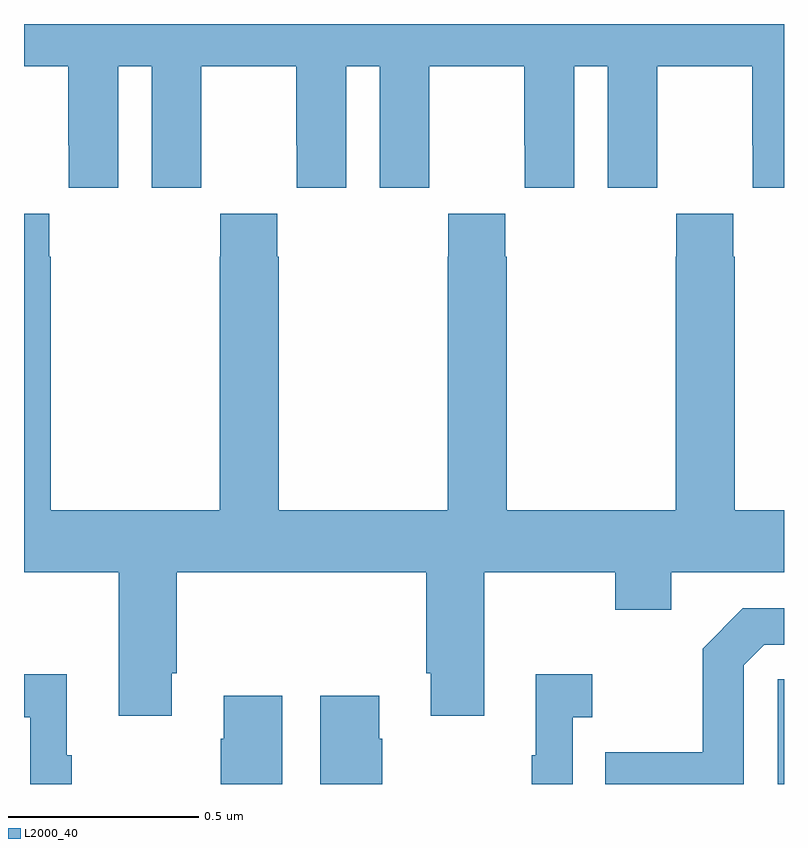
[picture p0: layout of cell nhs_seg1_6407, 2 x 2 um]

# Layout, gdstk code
import gdstk
lib = gdstk.Library(unit=1e-6, precision=1e-09)
def R(c, l, rs):  # rectangles x0, y0, x1, y1
    for r in rs: c.add(gdstk.rectangle(r[:2], r[2:], *l))
def P(c, l, *ps):  # polygons
    for p in ps: c.add(gdstk.Polygon(p, *l))
L2000_40 = (2000, 40)

nhs_seg1_6407 = lib.new_cell('nhs_seg1_6407')
R(nhs_seg1_6407, L2000_40, [(192.984,527.199,193,527.475)])
P(nhs_seg1_6407, L2000_40, [(191.248,529.088),(191.336,529.088),(191.336,528.768),(191.466,528.768),(191.466,528.88),(191.467,528.88),(191.467,529.088),(191.717,529.088),(191.717,528.88),(191.718,528.88),(191.718,528.768),(191.848,528.768),(191.848,529.088),(191.936,529.088),(191.936,528.768),(192.066,528.768),(192.066,528.88),(192.067,528.88),(192.067,529.088),(192.317,529.088),(192.317,528.88),(192.318,528.88),(192.318,528.768),(192.448,528.768),(192.448,529.088),(192.536,529.088),(192.536,528.768),(192.666,528.768),(192.666,528.88),(192.667,528.88),(192.667,529.088),(192.917,529.088),(192.917,528.88),(192.918,528.88),(192.918,528.768),(193,528.768),(193,529.199),(191,529.199),(191,529.088),(191.117,529.088),(191.117,528.88),(191.118,528.88),(191.118,528.768),(191.248,528.768)],
  [(192.059,527.491),(192.071,527.491),(192.071,527.379),(192.211,527.379),(192.211,527.756),(192.556,527.756),(192.556,527.657),(192.703,527.657),(192.703,527.756),(193,527.756),(193,527.92),(192.87,527.92),(192.87,528.587),(192.867,528.587),(192.867,528.7),(192.717,528.7),(192.717,528.587),(192.715,528.587),(192.715,527.92),(192.27,527.92),(192.27,528.587),(192.267,528.587),(192.267,528.7),(192.117,528.7),(192.117,528.587),(192.115,528.587),(192.115,527.92),(191.67,527.92),(191.67,528.587),(191.667,528.587),(191.667,528.7),(191.517,528.7),(191.517,528.587),(191.515,528.587),(191.515,527.92),(191.07,527.92),(191.07,528.587),(191.067,528.587),(191.067,528.7),(191,528.7),(191,527.756),(191.249,527.756),(191.249,527.379),(191.389,527.379),(191.389,527.491),(191.402,527.491),(191.402,527.756),(192.059,527.756)],
  [(192.894,527.511),(192.948,527.565),(193,527.565),(193,527.661),(192.891,527.661),(192.786,527.555),(192.786,527.283),(192.529,527.283),(192.529,527.199),(192.894,527.199)],
  [(192.444,527.375),(192.496,527.375),(192.496,527.488),(192.347,527.488),(192.347,527.275),(192.336,527.275),(192.336,527.199),(192.444,527.199)],
  [(191.125,527.275),(191.113,527.275),(191.113,527.488),(191,527.488),(191,527.375),(191.016,527.375),(191.016,527.199),(191.125,527.199)],
  [(191.68,527.431),(191.525,527.431),(191.525,527.318),(191.518,527.318),(191.518,527.199),(191.68,527.199)],
  [(191.943,527.318),(191.935,527.318),(191.935,527.431),(191.78,527.431),(191.78,527.199),(191.943,527.199)])

lib.write_gds('nhs_seg1_6407.gds')
